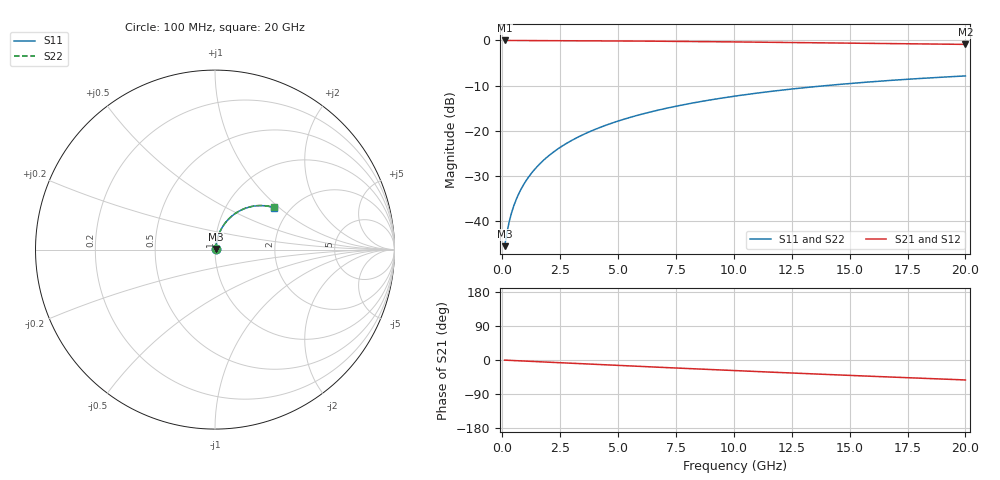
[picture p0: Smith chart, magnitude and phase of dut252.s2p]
! Touchstone file exported from HFSS 2026.1.0
!  File:  C:/ffzhzh/LocalFiles/Ansys_Project_Files/temp_train_TMRDL_252_1782984862_40604.aedt
!  Generated:  05:35:30 PM Jul  2, 2026
!  Design:  TMRDL
!  Project:  temp_train_TMRDL_252_1782984862_40604
! Variables:
!  h_bsmrdl = 2um
!  h_ox = 20um
!  h_rdl = 5um
!  h_sub = 80um
!  h_tmrdl = 3.16um
!  h_tsv = 80um
!  h_via = 3um
!  l_bsmrdl = 300um
!  l_sub = 1229.07um
!  l_tmrdl = 829.07um
!  m_sub = 200um
!  pitch = 43.15um
!  r_tsv = 6um
!  s_tmrdl = 10um
!  w_bsmrdl = 18um
!  w_sub = 500um
!  w_tmrdl = 22.29um
!  x_tsv_center1 = 840.215um
!  x_tsv_center2 = 1158.215um
!  x_tsv_center3 = 2009.575um
!  x_tsv_center4 = 2327.575um
!  x_tsv_center5 = 3178.935um
!  x_tsv_center6 = 3496.935um
# GHz S MA R 50.000000
! Terminal data exported
! Port[1] = TM_RDL1_1_T1
! Port[2] = TM_RDL1_1_T2
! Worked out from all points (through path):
!   200 points, 100 MHz to 20 GHz, reference 50 ohm
!   highest |S21| = -0.04 dB at 100 MHz (marker M1); lowest = -0.9 dB at 20 GHz (marker M2)
!   group delay of S21, straight-line fit = 7.32 ps
!   lowest |S11| = -45.5 dB at 100 MHz (marker M3), VSWR 1.01, Z = 50.4 + j0.299 ohm
!   |S11| at or under -10 dB: start of sweep to 14.02 GHz
!   |S22| runs from -45.5 to -7.9 dB; largest |S21 - S12| = 2.1e-15
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0.1  0.00529 34.0  0.9956 -0.3  0.9956 -0.3  0.00529 34.0
! Gamma 0 0 0 0
! Port Impedance 50 0 50 0
0.2  0.007445 51.4  0.9954 -0.6  0.9954 -0.6  0.007445 51.4
0.3  0.00989 59.8  0.9951 -0.9  0.9951 -0.9  0.009888 59.8
0.4  0.01237 64.6  0.9949 -1.2  0.9949 -1.2  0.01237 64.6
0.5  0.01486 67.8  0.9947 -1.5  0.9947 -1.5  0.01485 67.8
0.6  0.01734 70.0  0.9945 -1.8  0.9945 -1.8  0.01733 70.0
0.8  0.02231 73.0  0.9942 -2.3  0.9942 -2.3  0.02231 73.1
1.1  0.02985 75.5  0.9938 -3.2  0.9938 -3.2  0.02985 75.6
1.3  0.03492 76.5  0.9935 -3.8  0.9935 -3.8  0.03491 76.5
1.6  0.04255 77.2  0.9931 -4.6  0.9931 -4.6  0.04255 77.2
2.1  0.05531 77.4  0.9923 -6.1  0.9923 -6.1  0.0553 77.5
2.7  0.07059 76.9  0.9911 -7.8  0.9911 -7.8  0.07058 77.0
3.5  0.0908 75.6  0.989 -10.0  0.989 -10.0  0.09079 75.6
4.2  0.1083 74.1  0.9868 -12.0  0.9868 -12.0  0.1083 74.1
5  0.1279 72.2  0.984 -14.3  0.984 -14.3  0.1279 72.3
5.9  0.1495 70.0  0.9803 -16.8  0.9803 -16.8  0.1495 70.0
6.8  0.1705 67.7  0.9763 -19.2  0.9763 -19.2  0.1705 67.8
8.3  0.2043 63.8  0.9689 -23.3  0.9689 -23.3  0.2043 63.9
10.1  0.2424 59.2  0.9591 -28.1  0.9591 -28.1  0.2424 59.3
13.4  0.3054 51.0  0.9396 -36.6  0.9396 -36.6  0.3053 51.1
16.7  0.3591 43.0  0.9198 -44.8  0.9198 -44.8  0.359 43.2
20  0.4034 35.3  0.901 -52.7  0.901 -52.7  0.4033 35.6
